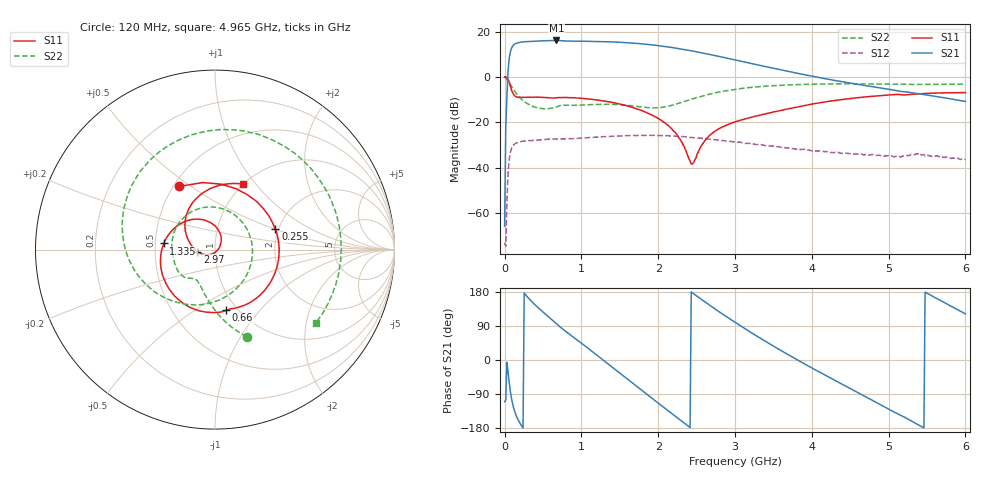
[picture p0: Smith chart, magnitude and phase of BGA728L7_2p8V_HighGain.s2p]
!  INFINEON TECHNOLOGIES Silicon Discrete Components
!  BGA728L7
!  Vcc=2.8V, Icc=5.94mA, High Gain Mode (Vpon=2.8V, VGS=0V), VHF application
!  Date: April 2008
# HZ  S  DB R  50
!Freq	DBS11	AngS11	DBS21	AngS21	DBS12	AngS12	DBS22	AngS22
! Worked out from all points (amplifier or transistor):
!   401 points, 30 kHz to 6 GHz, reference 50 ohm
!   highest |S21| = 16.1 dB at 675 MHz (marker M1)
!   |S21| within 3 dB of that: 96.71 MHz to 2.16 GHz (2.064 GHz wide, 183 % of centre)
!   unconditionally stable (mu >= 1): start of sweep to end of sweep
!   at 990 MHz: K = 1.66, MAG = 16.6 dB, |S12| = -27.0 dB
!   at 3 GHz: K = 4.19, MAG = 9.0 dB, |S12| = -28.8 dB
!   at 6 GHz: K = 46.67, MAG = -7.0 dB, |S12| = -36.3 dB
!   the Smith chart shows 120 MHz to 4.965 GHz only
!   S11 on the Smith chart (normalised r, x): 120 MHz: 0.54, +0.45; 255 MHz: 1.93, +0.50; 660 MHz: 0.89, -0.68; 1.335 GHz: 0.55, +0.04; 2.97 GHz: 0.82, -0.02; 4.965 GHz: 1.00, +0.87
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30000  -0.00 -0.0  -65.76 -110.1  -73.03 -116.7  -0.01 -0.0
6.00297e7  -2.37 -131.0  8.18 -59.6  -36.30 145.8  -2.71 -43.4
9.002955e7  -5.72 167.3  12.65 -101.7  -31.62 98.6  -4.16 -58.5
1.200294e8  -7.87 119.4  14.14 -128.2  -29.92 69.5  -5.73 -70.0
1.800291e8  -8.99 59.2  15.09 -159.5  -28.75 37.7  -8.44 -85.1
2.550287e8  -9.00 18.5  15.48 176.7  -28.32 14.5  -10.82 -97.2
4.500278e8  -8.92 -39.7  15.82 135.5  -27.76 -19.4  -13.78 -116.8
6.600267e8  -9.27 -79.7  16.05 98.3  -27.39 -49.1  -13.37 -132.2
6.750266e8  -9.20 -82.2  16.06 95.7  -27.43 -50.4  -13.16 -133.7
1.005025e9  -9.43 -138.3  15.72 43.5  -26.94 -88.3  -12.42 -179.9
1.335023e9  -10.83 173.1  15.51 -8.1  -26.24 -126.7  -12.06 134.7
1.680022e9  -13.58 126.5  14.87 -62.8  -25.79 -169.5  -12.83 73.1
2.01002e9  -18.52 84.5  13.76 -115.4  -25.78 148.0  -13.56 -7.0
2.385018e9  -34.78 9.4  11.80 -173.7  -26.48 98.9  -10.35 -97.9
2.670017e9  -25.79 -145.8  9.89 144.5  -27.47 63.0  -7.59 -148.1
2.970015e9  -20.14 -173.5  7.71 103.3  -28.62 26.6  -5.64 170.2
3.000015e9  -19.78 -175.6  7.49 99.4  -28.76 23.9  -5.50 166.4
3.450013e9  -15.85 159.1  4.16 42.7  -30.41 -25.8  -3.97 115.3
4.00501e9  -11.96 128.8  0.30 -21.5  -32.56 -84.2  -3.20 60.3
4.965005e9  -8.03 66.5  -5.26 -125.7  -34.87 179.7  -3.15 -36.0
5.010005e9  -7.89 63.2  -5.47 -130.5  -34.84 176.1  -3.18 -41.1
6e9  -6.93 -3.9  -10.80 121.7  -36.30 67.7  -3.20 -154.8
